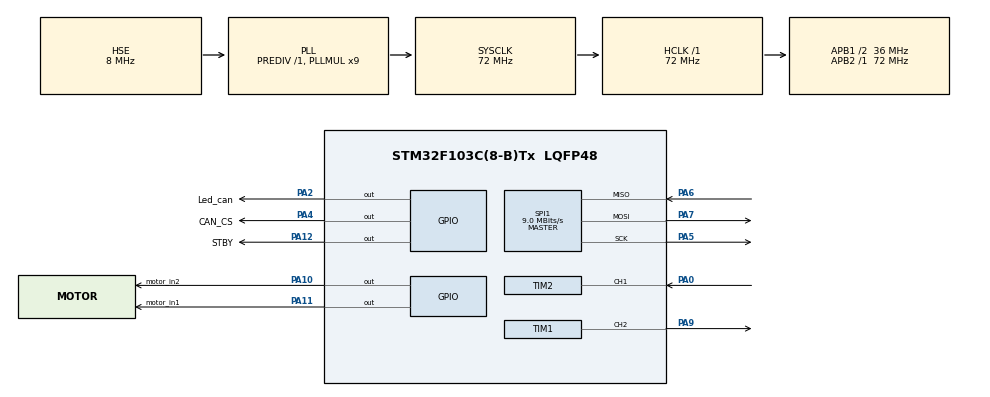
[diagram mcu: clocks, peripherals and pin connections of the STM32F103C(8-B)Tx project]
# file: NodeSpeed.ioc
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Mcu.Family=STM32F1
Mcu.Name=STM32F103C(8-B)Tx
Mcu.Package=LQFP48
NVIC.PriorityGroup=NVIC_PRIORITYGROUP_4
PA0-WKUP.Signal=S_TIM2_CH1_ETR
PA10.GPIO_Label=motor_in2
PA10.Signal=GPIO_Output
PA11.GPIO_Label=motor_in1
PA11.Signal=GPIO_Output
PA12.GPIO_Label=STBY
PA12.Signal=GPIO_Output
PA13.Mode=Serial_Wire
PA13.Signal=SYS_JTMS-SWDIO
PA14.Mode=Serial_Wire
PA14.Signal=SYS_JTCK-SWCLK
PA2.GPIO_Label=Led_can
PA2.Signal=GPIO_Output
PA4.GPIO_Label=CAN_CS
PA4.PinState=GPIO_PIN_SET
PA4.Signal=GPIO_Output
PA5.Mode=Full_Duplex_Master
PA5.Signal=SPI1_SCK
PA6.Mode=Full_Duplex_Master
PA6.Signal=SPI1_MISO
PA7.Mode=Full_Duplex_Master
PA7.Signal=SPI1_MOSI
PA9.Signal=S_TIM1_CH2
PD0-OSC_IN.Mode=HSE-External-Oscillator
PD0-OSC_IN.Signal=RCC_OSC_IN
PD1-OSC_OUT.Mode=HSE-External-Oscillator
PD1-OSC_OUT.Signal=RCC_OSC_OUT
ProjectManager.HeapSize=0x200
ProjectManager.StackSize=0x400
ProjectManager.TargetToolchain=MDK-ARM V5
RCC.ADCPresc=RCC_ADCPCLK2_DIV6
RCC.AHBFreq_Value=72000000
RCC.APB1CLKDivider=RCC_HCLK_DIV2
RCC.APB1Freq_Value=36000000
RCC.APB1TimFreq_Value=72000000
RCC.APB2Freq_Value=72000000
RCC.APB2TimFreq_Value=72000000
RCC.HCLKFreq_Value=72000000
RCC.PLLMUL=RCC_PLL_MUL9
RCC.PLLSourceVirtual=RCC_PLLSOURCE_HSE
RCC.SYSCLKFreq_VALUE=72000000
RCC.SYSCLKSource=RCC_SYSCLKSOURCE_PLLCLK
RCC.USBFreq_Value=72000000
SH.S_TIM1_CH2.0=TIM1_CH2,PWM Generation2 CH2
SH.S_TIM2_CH1_ETR.0=TIM2_CH1,TriggerSource_TI1FP1
SPI1.BaudRatePrescaler=SPI_BAUDRATEPRESCALER_8
SPI1.CalculateBaudRate=9.0 MBits/s
SPI1.Direction=SPI_DIRECTION_2LINES
SPI1.Mode=SPI_MODE_MASTER
SPI1.VirtualType=VM_MASTER
TIM1.Channel-PWM\ Generation2\ CH2=TIM_CHANNEL_2
TIM1.Period=624
TIM1.Prescaler=127
TIM2.Slave_TriggerFilter=10
VP_TIM1_VS_ClockSourceINT.Mode=Internal
VP_TIM2_VS_ControllerModeClock.Mode=Clock Mode
board=custom

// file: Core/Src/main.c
/* USER CODE BEGIN Header */
/**
  ******************************************************************************
  * @file           : main.c
  * @brief          : Main program body
  ******************************************************************************
  * @attention
  *
  * Copyright (c) 2025 STMicroelectronics.
  * All rights reserved.
  *
  * This software is licensed under terms that can be found in the LICENSE file
  * in the root directory of this software component.
  * If no LICENSE file comes with this software, it is provided AS-IS.
  *
  ******************************************************************************
  */
/* USER CODE END Header */
#include "main.h"

/* USER CODE BEGIN Includes */
#include "stm32f1xx_hal.h"
#include "CAN_SPI.h"
#include "stdlib.h"
/* USER CODE END Includes */

SPI_HandleTypeDef hspi1;

TIM_HandleTypeDef htim1;
TIM_HandleTypeDef htim2;

/* USER CODE BEGIN PV */
uCAN_MSG txMessage;
uCAN_MSG rxMessage;
uint32_t last_can_received_time = 0;

#define DISK_SLOTS   20
#define WHEEL_DIA    0.065
#define PI           3.14159
#define FILTER_SIZE_SPEED 10
#define MAX_PULSES_PER_100MS  14.0

uint8_t safety_lock = 0;
static uint8_t road_limit_kmh = 120;

uint32_t last_speed_time = 0;
int16_t  encoder_cnt = 0;
float    speed_kmh = 0.0;
int16_t speed_buffer[FILTER_SIZE_SPEED] = {0};
uint8_t filter_index = 0;
int16_t raw_cnt = 0;
float filtered_cnt = 0.0;

uint8_t adas_speed_cmd;
int target_pwm = 0;

volatile uint16_t joystickValue = 2048;
uint16_t speedPWM = 0;

volatile uint32_t IC_Val1 = 0;
volatile uint32_t IC_Val2 = 0;
volatile uint32_t pulse_width = 0;
volatile uint8_t Is_First_Captured = 0;
volatile uint32_t encoder_freq = 0;

typedef struct {
    float Q;
    float R;
    float x;
    float P;
    float K;
} KalmanFilter;

KalmanFilter speedFilter = {0.05, 30.0, 0.0, 1.0, 0.0};

float Kalman_Update(KalmanFilter *f, float measurement) {
    f->P = f->P + f->Q;

    f->K = f->P / (f->P + f->R);
    f->x = f->x + f->K * (measurement - f->x);
    f->P = (1 - f->K) * f->P;

    return f->x;
}
/* USER CODE END PV */

void SystemClock_Config(void);
static void MX_GPIO_Init(void);
static void MX_SPI1_Init(void);
static void MX_TIM1_Init(void);
static void MX_TIM2_Init(void);

int main(void)
{

  /* MCU Configuration--------------------------------------------------------*/

  /* Reset of all peripherals, Initializes the Flash interface and the Systick. */
  HAL_Init();

  /* Configure the system clock */
  SystemClock_Config();

  /* Initialize all configured peripherals */
  MX_GPIO_Init();
  MX_SPI1_Init();
  MX_TIM1_Init();
  MX_TIM2_Init();
  /* USER CODE BEGIN 2 */
	CANSPI_Initialize();

	HAL_TIM_PWM_Start(&htim1, TIM_CHANNEL_2);

	HAL_GPIO_WritePin(STBY_GPIO_Port, STBY_Pin, GPIO_PIN_SET);

	HAL_TIM_IC_Start_IT(&htim2, TIM_CHANNEL_1); //encoder

	HAL_GPIO_WritePin(motor_in1_GPIO_Port, motor_in1_Pin, 0); // chieu lui
	HAL_GPIO_WritePin(motor_in2_GPIO_Port, motor_in2_Pin, 0); //chieu tien
	HAL_GPIO_WritePin(Led_can_GPIO_Port, Led_can_Pin, 0);

  /* USER CODE END 2 */

  /* Infinite loop */
  while (1)
  {

    /* USER CODE BEGIN 3 */
		while (CANSPI_Receive(&rxMessage)) {
			if(rxMessage.frame.id == 0x01) {
				joystickValue = (uint16_t)(rxMessage.frame.data3 << 8) | rxMessage.frame.data2;
				adas_speed_cmd = rxMessage.frame.data7;

				last_can_received_time = HAL_GetTick();
			}

			if (rxMessage.frame.id == 0x03) {
				uint8_t limit_from_cam = rxMessage.frame.data6;

					road_limit_kmh = limit_from_cam;

				//last_can_received_time = HAL_GetTick();
			}
		}

//		int max_allowed_pwm = (road_limit_kmh * 625) / 100;
//		if (max_allowed_pwm > 625) max_allowed_pwm = 625;

		if ((HAL_GetTick() - last_can_received_time) > 500){
			adas_speed_cmd = 0;
			joystickValue = 2890;
			safety_lock = 1;
			HAL_GPIO_WritePin(Led_can_GPIO_Port, Led_can_Pin, 0);
		}

		int max_allowed_pwm = (road_limit_kmh * 625) / 100;
		if (max_allowed_pwm > 625) max_allowed_pwm = 625;

		if (adas_speed_cmd > 0) {
			HAL_GPIO_WritePin(motor_in1_GPIO_Port, motor_in1_Pin, 1);
			HAL_GPIO_WritePin(motor_in2_GPIO_Port, motor_in2_Pin, 0);

			uint8_t effective_target = adas_speed_cmd;
			if (effective_target > road_limit_kmh) {
				effective_target = road_limit_kmh;
			}

			int base_pwm = (effective_target * 625) / 100;
			float error = (float)effective_target - speed_kmh;

			float Kp_val = 25.0;
			if (error < 0) {
				Kp_val = 6.0;
			}
			int compensation = (int)(error * Kp_val);
			target_pwm = base_pwm + compensation;

			if (target_pwm > max_allowed_pwm) target_pwm = max_allowed_pwm;
			if (target_pwm > 625) target_pwm = 625;
			if (target_pwm < 0) target_pwm = 0;

			speedPWM = target_pwm;
		} else {
				if (joystickValue < 2800) {
				HAL_GPIO_WritePin(motor_in1_GPIO_Port, motor_in1_Pin, 1);
				HAL_GPIO_WritePin(motor_in2_GPIO_Port, motor_in2_Pin, 0);

				speedPWM = (long)(2800 - joystickValue) * 625 / 2800;

			} else if (joystickValue > 2980) {
				HAL_GPIO_WritePin(motor_in1_GPIO_Port, motor_in1_Pin, 0);
				HAL_GPIO_WritePin(motor_in2_GPIO_Port, motor_in2_Pin, 1);

				speedPWM = (long)(joystickValue - 2980) * 625 / (4095 - 2980);

			} else {
				HAL_GPIO_WritePin(motor_in1_GPIO_Port, motor_in1_Pin, 0);
				HAL_GPIO_WritePin(motor_in2_GPIO_Port, motor_in2_Pin, 0);
				speedPWM = 0;
			}

			if (speedPWM > 625) speedPWM = 625;
			if (HAL_GPIO_ReadPin(motor_in2_GPIO_Port, motor_in2_Pin) == 1) {
				if (speedPWM > max_allowed_pwm) {
            speedPWM = max_allowed_pwm;
        }
				if (speed_kmh > (float)(road_limit_kmh + 2)) {
            speedPWM = 0;
        }
			}
		}

		if (HAL_GetTick() - last_speed_time >= 100) {
			raw_cnt = (int16_t)__HAL_TIM_GET_COUNTER(&htim2);
			__HAL_TIM_SET_COUNTER(&htim2, 0);

			if (abs(raw_cnt) <= 2) {
				raw_cnt = 0;
			}

			float raw_speed = ((float)abs(raw_cnt) / MAX_PULSES_PER_100MS) * 100.0;
			speed_kmh = Kalman_Update(&speedFilter, raw_speed);

			if (speed_kmh > 120.0) speed_kmh = 120.0;
			if (speed_kmh < 1.0) speed_kmh = 0.0;

			last_speed_time = HAL_GetTick();
		}

		__HAL_TIM_SET_COMPARE(&htim1, TIM_CHANNEL_2, speedPWM);

		txMessage.frame.idType = dSTANDARD_CAN_MSG_ID_2_0B;
		txMessage.frame.id = 0x02;
		txMessage.frame.dlc = 6;
		//encoder data
		txMessage.frame.data0 = (uint8_t)(encoder_freq >> 24);
    txMessage.frame.data1 = (uint8_t)(encoder_freq >> 16);
    txMessage.frame.data2 = (uint8_t)(encoder_freq >> 8);
    txMessage.frame.data3 = (uint8_t)(encoder_freq & 0xFF);
		//speed data
		txMessage.frame.data4 = (uint8_t)((int)(speed_kmh * 100) >> 8);
		txMessage.frame.data5 = (uint8_t)((int)(speed_kmh * 100) & 0xFF);

		//CANSPI_Transmit(&txMessage);

		if (CANSPI_Transmit(&txMessage)) {
			HAL_GPIO_TogglePin(Led_can_GPIO_Port, Led_can_Pin);
		}

		HAL_Delay(50);
  }
  /* USER CODE END 3 */
}

void SystemClock_Config(void)
{
  RCC_OscInitTypeDef RCC_OscInitStruct = {0};
  RCC_ClkInitTypeDef RCC_ClkInitStruct = {0};

  /** Initializes the RCC Oscillators according to the specified parameters
  * in the RCC_OscInitTypeDef structure.
  */
  RCC_OscInitStruct.OscillatorType = RCC_OSCILLATORTYPE_HSE;
  RCC_OscInitStruct.HSEState = RCC_HSE_ON;
  RCC_OscInitStruct.HSEPredivValue = RCC_HSE_PREDIV_DIV1;
  RCC_OscInitStruct.HSIState = RCC_HSI_ON;
  RCC_OscInitStruct.PLL.PLLState = RCC_PLL_ON;
  RCC_OscInitStruct.PLL.PLLSource = RCC_PLLSOURCE_HSE;
  RCC_OscInitStruct.PLL.PLLMUL = RCC_PLL_MUL9;
  if (HAL_RCC_OscConfig(&RCC_OscInitStruct) != HAL_OK)
  {
    Error_Handler();
  }

  /** Initializes the CPU, AHB and APB buses clocks
  */
  RCC_ClkInitStruct.ClockType = RCC_CLOCKTYPE_HCLK|RCC_CLOCKTYPE_SYSCLK
                              |RCC_CLOCKTYPE_PCLK1|RCC_CLOCKTYPE_PCLK2;
  RCC_ClkInitStruct.SYSCLKSource = RCC_SYSCLKSOURCE_PLLCLK;
  RCC_ClkInitStruct.AHBCLKDivider = RCC_SYSCLK_DIV1;
  RCC_ClkInitStruct.APB1CLKDivider = RCC_HCLK_DIV2;
  RCC_ClkInitStruct.APB2CLKDivider = RCC_HCLK_DIV1;

  if (HAL_RCC_ClockConfig(&RCC_ClkInitStruct, FLASH_LATENCY_2) != HAL_OK)
  {
    Error_Handler();
  }
}

static void MX_SPI1_Init(void)
{

  /* SPI1 parameter configuration*/
  hspi1.Instance = SPI1;
  hspi1.Init.Mode = SPI_MODE_MASTER;
  hspi1.Init.Direction = SPI_DIRECTION_2LINES;
  hspi1.Init.DataSize = SPI_DATASIZE_8BIT;
  hspi1.Init.CLKPolarity = SPI_POLARITY_LOW;
  hspi1.Init.CLKPhase = SPI_PHASE_1EDGE;
  hspi1.Init.NSS = SPI_NSS_SOFT;
  hspi1.Init.BaudRatePrescaler = SPI_BAUDRATEPRESCALER_8;
  hspi1.Init.FirstBit = SPI_FIRSTBIT_MSB;
  hspi1.Init.TIMode = SPI_TIMODE_DISABLE;
  hspi1.Init.CRCCalculation = SPI_CRCCALCULATION_DISABLE;
  hspi1.Init.CRCPolynomial = 10;
  if (HAL_SPI_Init(&hspi1) != HAL_OK)
  {
    Error_Handler();
  }

}

static void MX_TIM1_Init(void)
{

  TIM_ClockConfigTypeDef sClockSourceConfig = {0};
  TIM_MasterConfigTypeDef sMasterConfig = {0};
  TIM_OC_InitTypeDef sConfigOC = {0};
  TIM_BreakDeadTimeConfigTypeDef sBreakDeadTimeConfig = {0};

  htim1.Instance = TIM1;
  htim1.Init.Prescaler = 127;
  htim1.Init.CounterMode = TIM_COUNTERMODE_UP;
  htim1.Init.Period = 624;
  htim1.Init.ClockDivision = TIM_CLOCKDIVISION_DIV1;
  htim1.Init.RepetitionCounter = 0;
  htim1.Init.AutoReloadPreload = TIM_AUTORELOAD_PRELOAD_DISABLE;
  if (HAL_TIM_Base_Init(&htim1) != HAL_OK)
  {
    Error_Handler();
  }
  sClockSourceConfig.ClockSource = TIM_CLOCKSOURCE_INTERNAL;
  if (HAL_TIM_ConfigClockSource(&htim1, &sClockSourceConfig) != HAL_OK)
  {
    Error_Handler();
  }
  if (HAL_TIM_PWM_Init(&htim1) != HAL_OK)
  {
    Error_Handler();
  }
  sMasterConfig.MasterOutputTrigger = TIM_TRGO_RESET;
  sMasterConfig.MasterSlaveMode = TIM_MASTERSLAVEMODE_DISABLE;
  if (HAL_TIMEx_MasterConfigSynchronization(&htim1, &sMasterConfig) != HAL_OK)
  {
    Error_Handler();
  }
  sConfigOC.OCMode = TIM_OCMODE_PWM1;
  sConfigOC.Pulse = 0;
  sConfigOC.OCPolarity = TIM_OCPOLARITY_HIGH;
  sConfigOC.OCNPolarity = TIM_OCNPOLARITY_HIGH;
  sConfigOC.OCFastMode = TIM_OCFAST_DISABLE;
  sConfigOC.OCIdleState = TIM_OCIDLESTATE_RESET;
  sConfigOC.OCNIdleState = TIM_OCNIDLESTATE_RESET;
  if (HAL_TIM_PWM_ConfigChannel(&htim1, &sConfigOC, TIM_CHANNEL_2) != HAL_OK)
  {
    Error_Handler();
  }
  sBreakDeadTimeConfig.OffStateRunMode = TIM_OSSR_DISABLE;
  sBreakDeadTimeConfig.OffStateIDLEMode = TIM_OSSI_DISABLE;
  sBreakDeadTimeConfig.LockLevel = TIM_LOCKLEVEL_OFF;
  sBreakDeadTimeConfig.DeadTime = 0;
  sBreakDeadTimeConfig.BreakState = TIM_BREAK_DISABLE;
  sBreakDeadTimeConfig.BreakPolarity = TIM_BREAKPOLARITY_HIGH;
  sBreakDeadTimeConfig.AutomaticOutput = TIM_AUTOMATICOUTPUT_DISABLE;
  if (HAL_TIMEx_ConfigBreakDeadTime(&htim1, &sBreakDeadTimeConfig) != HAL_OK)
  {
    Error_Handler();
  }
  HAL_TIM_MspPostInit(&htim1);

}

static void MX_TIM2_Init(void)
{

  TIM_SlaveConfigTypeDef sSlaveConfig = {0};
  TIM_MasterConfigTypeDef sMasterConfig = {0};

  htim2.Instance = TIM2;
  htim2.Init.Prescaler = 0;
  htim2.Init.CounterMode = TIM_COUNTERMODE_UP;
  htim2.Init.Period = 65535;
  htim2.Init.ClockDivision = TIM_CLOCKDIVISION_DIV1;
  htim2.Init.AutoReloadPreload = TIM_AUTORELOAD_PRELOAD_DISABLE;
  if (HAL_TIM_Base_Init(&htim2) != HAL_OK)
  {
    Error_Handler();
  }
  sSlaveConfig.SlaveMode = TIM_SLAVEMODE_EXTERNAL1;
  sSlaveConfig.InputTrigger = TIM_TS_TI1FP1;
  sSlaveConfig.TriggerPolarity = TIM_TRIGGERPOLARITY_RISING;
  sSlaveConfig.TriggerFilter = 10;
  if (HAL_TIM_SlaveConfigSynchro(&htim2, &sSlaveConfig) != HAL_OK)
  {
    Error_Handler();
  }
  sMasterConfig.MasterOutputTrigger = TIM_TRGO_RESET;
  sMasterConfig.MasterSlaveMode = TIM_MASTERSLAVEMODE_DISABLE;
  if (HAL_TIMEx_MasterConfigSynchronization(&htim2, &sMasterConfig) != HAL_OK)
  {
    Error_Handler();
  }

}

static void MX_GPIO_Init(void)
{
  GPIO_InitTypeDef GPIO_InitStruct = {0};

  /* GPIO Ports Clock Enable */
  __HAL_RCC_GPIOD_CLK_ENABLE();
  __HAL_RCC_GPIOA_CLK_ENABLE();

  /*Configure GPIO pin Output Level */
  HAL_GPIO_WritePin(GPIOA, Led_can_Pin|motor_in2_Pin|motor_in1_Pin|STBY_Pin, GPIO_PIN_RESET);

  /*Configure GPIO pin Output Level */
  HAL_GPIO_WritePin(CAN_CS_GPIO_Port, CAN_CS_Pin, GPIO_PIN_SET);

  /*Configure GPIO pins : Led_can_Pin CAN_CS_Pin motor_in2_Pin motor_in1_Pin
                           STBY_Pin */
  GPIO_InitStruct.Pin = Led_can_Pin|CAN_CS_Pin|motor_in2_Pin|motor_in1_Pin
                          |STBY_Pin;
  GPIO_InitStruct.Mode = GPIO_MODE_OUTPUT_PP;
  GPIO_InitStruct.Pull = GPIO_NOPULL;
  GPIO_InitStruct.Speed = GPIO_SPEED_FREQ_LOW;
  HAL_GPIO_Init(GPIOA, &GPIO_InitStruct);

}

/* USER CODE BEGIN 4 */
void HAL_TIM_IC_CaptureCallback(TIM_HandleTypeDef *htim) {
	if (htim->Instance == TIM2) {
		if (Is_First_Captured == 0) {
			IC_Val1 = HAL_TIM_ReadCapturedValue(htim, TIM_CHANNEL_1);
			Is_First_Captured = 1;
		} else {
			IC_Val2 = HAL_TIM_ReadCapturedValue(htim, TIM_CHANNEL_1);
			if (IC_Val2 > IC_Val1) {
				pulse_width = IC_Val2 - IC_Val1;
			} else if (IC_Val2 < IC_Val1) { //timer tran
				pulse_width = (0xFFFF - IC_Val1) + IC_Val2;
			} else {
				pulse_width = 0;
			}

			if (pulse_width > 0) {
				encoder_freq = 72000000 / pulse_width;
			} else {
				encoder_freq = 0;
			}
			IC_Val1 = IC_Val2;
		}
	}
}
/* USER CODE END 4 */

void Error_Handler(void)
{
  __disable_irq();
  while (1)
  {
  }
}
